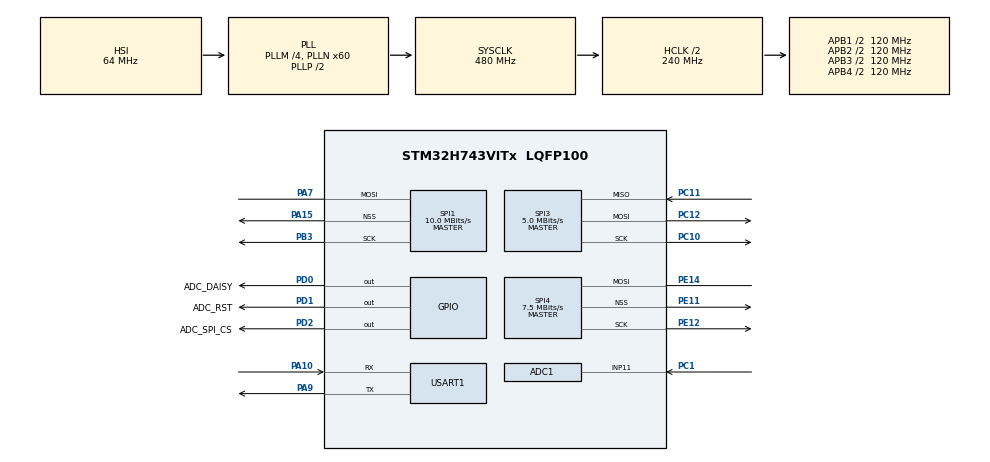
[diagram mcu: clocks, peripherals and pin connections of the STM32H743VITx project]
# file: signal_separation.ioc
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ADC1.Channel-2\#ChannelRegularConversion=ADC_CHANNEL_11
ADC1.ClockPrescaler=ADC_CLOCK_ASYNC_DIV1
ADC1.ContinuousConvMode=DISABLE
ADC1.ConversionDataManagement=ADC_CONVERSIONDATA_DMA_ONESHOT
ADC1.ExternalTrigConv=ADC_EXTERNALTRIG_T6_TRGO
ADC1.NbrOfConversionFlag=1
ADC1.OffsetNumber-2\#ChannelRegularConversion=ADC_OFFSET_NONE
ADC1.OffsetSignedSaturation-2\#ChannelRegularConversion=DISABLE
ADC1.Overrun=ADC_OVR_DATA_OVERWRITTEN
ADC1.Rank-2\#ChannelRegularConversion=1
ADC1.SamplingTime-2\#ChannelRegularConversion=ADC_SAMPLETIME_8CYCLES_5
ADC1.master=1
CORTEX_M7.default_mode_Activation=1
Dma.ADC1.0.Direction=DMA_PERIPH_TO_MEMORY
Dma.ADC1.0.EventEnable=DISABLE
Dma.ADC1.0.FIFOMode=DMA_FIFOMODE_DISABLE
Dma.ADC1.0.Instance=DMA1_Stream0
Dma.ADC1.0.MemDataAlignment=DMA_MDATAALIGN_HALFWORD
Dma.ADC1.0.MemInc=DMA_MINC_ENABLE
Dma.ADC1.0.Mode=DMA_NORMAL
Dma.ADC1.0.PeriphDataAlignment=DMA_PDATAALIGN_HALFWORD
Dma.ADC1.0.PeriphInc=DMA_PINC_DISABLE
Dma.ADC1.0.Polarity=HAL_DMAMUX_REQ_GEN_RISING
Dma.ADC1.0.Priority=DMA_PRIORITY_LOW
Dma.ADC1.0.RequestNumber=1
Dma.ADC1.0.SignalID=NONE
Dma.ADC1.0.SyncEnable=DISABLE
Dma.ADC1.0.SyncPolarity=HAL_DMAMUX_SYNC_NO_EVENT
Dma.ADC1.0.SyncRequestNumber=1
Dma.ADC1.0.SyncSignalID=NONE
Dma.Request0=ADC1
Mcu.Family=STM32H7
Mcu.Name=STM32H743VITx
Mcu.Package=LQFP100
NVIC.DMA1_Stream0_IRQn=true\:0\:0\:false\:false\:true\:false\:true\:true
NVIC.PriorityGroup=NVIC_PRIORITYGROUP_4
NVIC.USART1_IRQn=true\:0\:0\:false\:false\:true\:true\:true\:true
PA10.Mode=Asynchronous
PA10.Signal=USART1_RX
PA13\ (JTMS/SWDIO).Mode=Serial_Wire
PA13\ (JTMS/SWDIO).Signal=DEBUG_JTMS-SWDIO
PA14\ (JTCK/SWCLK).Mode=Serial_Wire
PA14\ (JTCK/SWCLK).Signal=DEBUG_JTCK-SWCLK
PA15\ (JTDI).GPIO_Speed=GPIO_SPEED_FREQ_MEDIUM
PA15\ (JTDI).Mode=NSS_Signal_Hard_Output
PA15\ (JTDI).Signal=SPI1_NSS
PA7.GPIO_Speed=GPIO_SPEED_FREQ_MEDIUM
PA7.Mode=Simplex_Bidirectional_Master
PA7.Signal=SPI1_MOSI
PA9.Mode=Asynchronous
PA9.Signal=USART1_TX
PB3\ (JTDO/TRACESWO).GPIO_Speed=GPIO_SPEED_FREQ_MEDIUM
PB3\ (JTDO/TRACESWO).Mode=Simplex_Bidirectional_Master
PB3\ (JTDO/TRACESWO).Signal=SPI1_SCK
PC1.Signal=ADCx_INP11
PC10.GPIO_Speed=GPIO_SPEED_FREQ_MEDIUM
PC10.Mode=Full_Duplex_Master
PC10.Signal=SPI3_SCK
PC11.GPIO_Speed=GPIO_SPEED_FREQ_MEDIUM
PC11.Mode=Full_Duplex_Master
PC11.Signal=SPI3_MISO
PC12.GPIO_Speed=GPIO_SPEED_FREQ_MEDIUM
PC12.Mode=Full_Duplex_Master
PC12.Signal=SPI3_MOSI
PD0.GPIO_Label=ADC_DAISY
PD0.Signal=GPIO_Output
PD1.GPIO_Label=ADC_RST
PD1.Signal=GPIO_Output
PD2.GPIO_Label=ADC_SPI_CS
PD2.GPIO_Speed=GPIO_SPEED_FREQ_HIGH
PD2.Signal=GPIO_Output
PE11.GPIO_Speed=GPIO_SPEED_FREQ_MEDIUM
PE11.Mode=NSS_Signal_Hard_Output
PE11.Signal=SPI4_NSS
PE12.GPIO_Speed=GPIO_SPEED_FREQ_MEDIUM
PE12.Mode=Simplex_Bidirectional_Master
PE12.Signal=SPI4_SCK
PE14.GPIO_Speed=GPIO_SPEED_FREQ_MEDIUM
PE14.Mode=Simplex_Bidirectional_Master
PE14.Signal=SPI4_MOSI
PH0-OSC_IN\ (PH0).Mode=HSE-External-Oscillator
PH0-OSC_IN\ (PH0).Signal=RCC_OSC_IN
PH1-OSC_OUT\ (PH1).Mode=HSE-External-Oscillator
PH1-OSC_OUT\ (PH1).Signal=RCC_OSC_OUT
ProjectManager.HeapSize=0x200
ProjectManager.StackSize=0x6000
ProjectManager.TargetToolchain=CMake
RCC.ADCFreq_Value=36000000
RCC.APB1Freq_Value=120000000
RCC.APB2Freq_Value=120000000
RCC.APB3Freq_Value=120000000
RCC.APB4Freq_Value=120000000
RCC.CortexFreq_Value=480000000
RCC.D1PPRE=RCC_APB3_DIV2
RCC.D2PPRE1=RCC_APB1_DIV2
RCC.D2PPRE2=RCC_APB2_DIV2
RCC.D3PPRE=RCC_APB4_DIV2
RCC.DIVM1=4
RCC.DIVN1=60
RCC.DIVN2=252
RCC.DIVP2=14
RCC.DIVQ1=12
RCC.HCLKFreq_Value=240000000
RCC.HPRE=RCC_HCLK_DIV2
RCC.HSE_Timout=100
RCC.PLL2FRACN=0
RCC.PLL3FRACN=0
RCC.PLLFRACN=0
RCC.PWR_Regulator_Voltage_Scale=PWR_REGULATOR_VOLTAGE_SCALE0
RCC.RCC_MCO2Source=RCC_MCO2SOURCE_HSE
RCC.SYSCLKFreq_VALUE=480000000
RCC.SYSCLKSource=RCC_SYSCLKSOURCE_PLLCLK
RCC.USBFreq_Value=80000000
SH.ADCx_INP11.0=ADC1_INP11,IN11-Single-Ended
SPI1.BaudRatePrescaler=SPI_BAUDRATEPRESCALER_8
SPI1.CLKPolarity=SPI_POLARITY_HIGH
SPI1.CalculateBaudRate=10.0 MBits/s
SPI1.DataSize=SPI_DATASIZE_16BIT
SPI1.Direction=SPI_DIRECTION_1LINE
SPI1.Mode=SPI_MODE_MASTER
SPI1.VirtualNSS=VM_NSSHARD
SPI1.VirtualType=VM_MASTER
SPI3.BaudRatePrescaler=SPI_BAUDRATEPRESCALER_16
SPI3.CLKPhase=SPI_PHASE_2EDGE
SPI3.CLKPolarity=SPI_POLARITY_LOW
SPI3.CalculateBaudRate=5.0 MBits/s
SPI3.DataSize=SPI_DATASIZE_16BIT
SPI3.Direction=SPI_DIRECTION_2LINES
SPI3.Mode=SPI_MODE_MASTER
SPI3.VirtualType=VM_MASTER
SPI4.BaudRatePrescaler=SPI_BAUDRATEPRESCALER_16
SPI4.CLKPolarity=SPI_POLARITY_HIGH
SPI4.CalculateBaudRate=7.5 MBits/s
SPI4.DataSize=SPI_DATASIZE_16BIT
SPI4.Direction=SPI_DIRECTION_1LINE
SPI4.Mode=SPI_MODE_MASTER
SPI4.VirtualNSS=VM_NSSHARD
SPI4.VirtualType=VM_MASTER
TIM6.AutoReloadPreload=TIM_AUTORELOAD_PRELOAD_ENABLE
TIM6.Period=2399
TIM6.TIM_MasterOutputTrigger=TIM_TRGO_UPDATE
USART1.VirtualMode-Asynchronous=VM_ASYNC
VP_MEMORYMAP_VS_MEMORYMAP.Mode=CurAppReg
VP_TIM6_VS_ClockSourceINT.Mode=Enable_Timer
board=custom

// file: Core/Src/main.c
/* USER CODE BEGIN Header */
/**
 ******************************************************************************
 * @file           : main.c
 * @brief          : Main program body
 ******************************************************************************
 * @attention
 *
 * Copyright (c) 2026 STMicroelectronics.
 * All rights reserved.
 *
 * This software is licensed under terms that can be found in the LICENSE file
 * in the root directory of this software component.
 * If no LICENSE file comes with this software, it is provided AS-IS.
 *
 ******************************************************************************
 */
/* USER CODE END Header */
#include "main.h"
#include "adc.h"
#include "dma.h"
#include "spi.h"
#include "tim.h"
#include "usart.h"
#include "gpio.h"

/* USER CODE BEGIN Includes */
#include "ad9833.h"
#include "adc_dma_timer.h"
#include "fft.h"
#include "time_utils.h"
#include "uart_screen.h"
#include <stdio.h>
#include <string.h>

/* USER CODE END Includes */

/* USER CODE BEGIN PV */
uint32_t time_start = 0;
uint32_t time_end = 0;
char tx_buffer[32] = {0}; // 用于存储发送到串口屏的数据

static float g_dds_freq_a = 0.0f;
static float g_dds_freq_b = 0.0f;
static uint16_t g_dds_type_a = 0;
static uint16_t g_dds_type_b = 0;
/* USER CODE END PV */

void SystemClock_Config(void);
static void MPU_Config(void);

int main(void)
{

    /* MPU Configuration--------------------------------------------------------*/
    MPU_Config();

    /* MCU Configuration--------------------------------------------------------*/

    /* Reset of all peripherals, Initializes the Flash interface and the Systick. */
    HAL_Init();

    /* Configure the system clock */
    SystemClock_Config();

    /* Initialize all configured peripherals */
    MX_GPIO_Init();
    MX_DMA_Init();
    MX_SPI1_Init();
    MX_SPI4_Init();
    MX_USART1_UART_Init();
    MX_ADC1_Init();
    MX_TIM6_Init();
    MX_SPI3_Init();
    /* USER CODE BEGIN 2 */
    AD9833_Init(hspi1); // A'
    AD9833_Init(hspi4); // B'

    memset(g_adc1_dma_data, 0, sizeof(g_adc1_dma_data));
    adc_timer_init();
    set_ADC_Sampling_Rate(1000000); // 设置采样率为1MHz

    HAL_UART_Receive_IT(&huart1, &phase_diffrence, 1);
    /* USER CODE END 2 */

    /* Infinite loop */
    /* USER CODE BEGIN WHILE */
    while (1)
    {

        if (g_receive_data_flag == 1)
        {
            time_start = time_now_ms();
            adc_start_one_time();
            g_receive_data_flag = 0;
        }
        if (g_adc1_dma_complete_flag == 1) // 采集数据完成 → FFT分析 + 更新AD9833
        {
            test_signal_analysis();

            if (sig_A.type == WAVE_SINE)
            {
                g_dds_freq_a = roundf(sig_A.frequency / FREQ_STEP_HZ) * FREQ_STEP_HZ;
                g_dds_type_a = AD9833_OUT_SINUS;
                AD9833_SetOutput(hspi1, (uint32_t)g_dds_freq_a, 0.0f, AD9833_OUT_SINUS);
                HAL_UART_Transmit(&huart1, (uint8_t *)tx_buffer,
                                  sprintf(tx_buffer, "t2.txt=\"%luHz, sin_wave\"\xff\xff\xff", (uint32_t)g_dds_freq_a),
                                  0xFFFF);
            }
            else if (sig_A.type == WAVE_TRIANGLE)
            {
                g_dds_freq_a = roundf(sig_A.frequency / FREQ_STEP_HZ) * FREQ_STEP_HZ;
                g_dds_type_a = AD9833_OUT_TRIANGLE;
                AD9833_SetOutput(hspi1, (uint32_t)g_dds_freq_a, 0.0f, AD9833_OUT_TRIANGLE);
                HAL_UART_Transmit(
                    &huart1, (uint8_t *)tx_buffer,
                    sprintf(tx_buffer, "t2.txt=\"%luHz, triangle_wave\"\xff\xff\xff", (uint32_t)g_dds_freq_a), 0xFFFF);
            }
            if (sig_B.type == WAVE_SINE)
            {
                g_dds_freq_b = roundf(sig_B.frequency / FREQ_STEP_HZ) * FREQ_STEP_HZ;
                g_dds_type_b = AD9833_OUT_SINUS;
                /* 信号B'相位 = phase_diffrence 度，实现A'与B'的相位差 */
                AD9833_SetOutput(hspi4, (uint32_t)g_dds_freq_b, (float32_t)phase_diffrence, AD9833_OUT_SINUS);
                HAL_UART_Transmit(&huart1, (uint8_t *)tx_buffer,
                                  sprintf(tx_buffer, "t3.txt=\"%luHz, sin_wave\"\xff\xff\xff", (uint32_t)g_dds_freq_b),
                                  0xFFFF);
            }
            else if (sig_B.type == WAVE_TRIANGLE)
            {
                g_dds_freq_b = roundf(sig_B.frequency / FREQ_STEP_HZ) * FREQ_STEP_HZ;
                g_dds_type_b = AD9833_OUT_TRIANGLE;
                /* 信号B'相位 = phase_diffrence 度，实现A'与B'的相位差 */
                AD9833_SetOutput(hspi4, (uint32_t)g_dds_freq_b, (float32_t)phase_diffrence, AD9833_OUT_TRIANGLE);
                HAL_UART_Transmit(
                    &huart1, (uint8_t *)tx_buffer,
                    sprintf(tx_buffer, "t3.txt=\"%luHz, triangle_wave\"\xff\xff\xff", (uint32_t)g_dds_freq_b), 0xFFFF);
            }

            time_end = time_now_ms();
            HAL_UART_Transmit(
                &huart1, (uint8_t *)tx_buffer,
                sprintf(tx_buffer, "t6.txt=\"%.2fs\"\xff\xff\xff", (float32_t)(time_end - time_start) / 1000.0f),
                0xFFFF);

            g_adc1_dma_complete_flag = 0;
            memset(g_adc1_dma_data, 0, sizeof(g_adc1_dma_data));
            memset(&sig_A, 0, sizeof(SignalInfo_t));
            memset(&sig_B, 0, sizeof(SignalInfo_t));
        }

        /* USER CODE END WHILE */

    }
}

void SystemClock_Config(void)
{
    RCC_OscInitTypeDef RCC_OscInitStruct = {0};
    RCC_ClkInitTypeDef RCC_ClkInitStruct = {0};

    /** Supply configuration update enable
     */
    HAL_PWREx_ConfigSupply(PWR_LDO_SUPPLY);

    /** Configure the main internal regulator output voltage
     */
    __HAL_PWR_VOLTAGESCALING_CONFIG(PWR_REGULATOR_VOLTAGE_SCALE0);

    while (!__HAL_PWR_GET_FLAG(PWR_FLAG_VOSRDY))
    {
    }

    /** Initializes the RCC Oscillators according to the specified parameters
     * in the RCC_OscInitTypeDef structure.
     */
    RCC_OscInitStruct.OscillatorType = RCC_OSCILLATORTYPE_HSI;
    RCC_OscInitStruct.HSIState = RCC_HSI_DIV1;
    RCC_OscInitStruct.HSICalibrationValue = RCC_HSICALIBRATION_DEFAULT;
    RCC_OscInitStruct.PLL.PLLState = RCC_PLL_ON;
    RCC_OscInitStruct.PLL.PLLSource = RCC_PLLSOURCE_HSI;
    RCC_OscInitStruct.PLL.PLLM = 4;
    RCC_OscInitStruct.PLL.PLLN = 60;
    RCC_OscInitStruct.PLL.PLLP = 2;
    RCC_OscInitStruct.PLL.PLLQ = 12;
    RCC_OscInitStruct.PLL.PLLR = 2;
    RCC_OscInitStruct.PLL.PLLRGE = RCC_PLL1VCIRANGE_3;
    RCC_OscInitStruct.PLL.PLLVCOSEL = RCC_PLL1VCOWIDE;
    RCC_OscInitStruct.PLL.PLLFRACN = 0;
    if (HAL_RCC_OscConfig(&RCC_OscInitStruct) != HAL_OK)
    {
        Error_Handler();
    }

    /** Initializes the CPU, AHB and APB buses clocks
     */
    RCC_ClkInitStruct.ClockType = RCC_CLOCKTYPE_HCLK | RCC_CLOCKTYPE_SYSCLK | RCC_CLOCKTYPE_PCLK1 |
                                  RCC_CLOCKTYPE_PCLK2 | RCC_CLOCKTYPE_D3PCLK1 | RCC_CLOCKTYPE_D1PCLK1;
    RCC_ClkInitStruct.SYSCLKSource = RCC_SYSCLKSOURCE_PLLCLK;
    RCC_ClkInitStruct.SYSCLKDivider = RCC_SYSCLK_DIV1;
    RCC_ClkInitStruct.AHBCLKDivider = RCC_HCLK_DIV2;
    RCC_ClkInitStruct.APB3CLKDivider = RCC_APB3_DIV2;
    RCC_ClkInitStruct.APB1CLKDivider = RCC_APB1_DIV2;
    RCC_ClkInitStruct.APB2CLKDivider = RCC_APB2_DIV2;
    RCC_ClkInitStruct.APB4CLKDivider = RCC_APB4_DIV2;

    if (HAL_RCC_ClockConfig(&RCC_ClkInitStruct, FLASH_LATENCY_4) != HAL_OK)
    {
        Error_Handler();
    }
}

/* MPU Configuration */

void MPU_Config(void)
{
    MPU_Region_InitTypeDef MPU_InitStruct = {0};

    /* Disables the MPU */
    HAL_MPU_Disable();

    /** Initializes and configures the Region and the memory to be protected
     */
    MPU_InitStruct.Enable = MPU_REGION_ENABLE;
    MPU_InitStruct.Number = MPU_REGION_NUMBER0;
    MPU_InitStruct.BaseAddress = 0x0;
    MPU_InitStruct.Size = MPU_REGION_SIZE_4GB;
    MPU_InitStruct.SubRegionDisable = 0x87;
    MPU_InitStruct.TypeExtField = MPU_TEX_LEVEL0;
    MPU_InitStruct.AccessPermission = MPU_REGION_NO_ACCESS;
    MPU_InitStruct.DisableExec = MPU_INSTRUCTION_ACCESS_DISABLE;
    MPU_InitStruct.IsShareable = MPU_ACCESS_SHAREABLE;
    MPU_InitStruct.IsCacheable = MPU_ACCESS_NOT_CACHEABLE;
    MPU_InitStruct.IsBufferable = MPU_ACCESS_NOT_BUFFERABLE;

    HAL_MPU_ConfigRegion(&MPU_InitStruct);
    /* Enables the MPU */
    HAL_MPU_Enable(MPU_PRIVILEGED_DEFAULT);
}

void Error_Handler(void)
{
    __disable_irq();
    while (1)
    {
    }
}
#ifdef USE_FULL_ASSERT
/**
 * @brief  Reports the name of the source file and the source line number
 *         where the assert_param error has occurred.
 * @param  file: pointer to the source file name
 * @param  line: assert_param error line source number
 * @retval None
 */
void assert_failed(uint8_t *file, uint32_t line)
{
    /* USER CODE BEGIN 6 */
    /* User can add his own implementation to report the file name and line
       number, ex: printf("Wrong parameters value: file %s on line %d\r\n", file,
       line) */
    /* USER CODE END 6 */
}
#endif /* USE_FULL_ASSERT */
